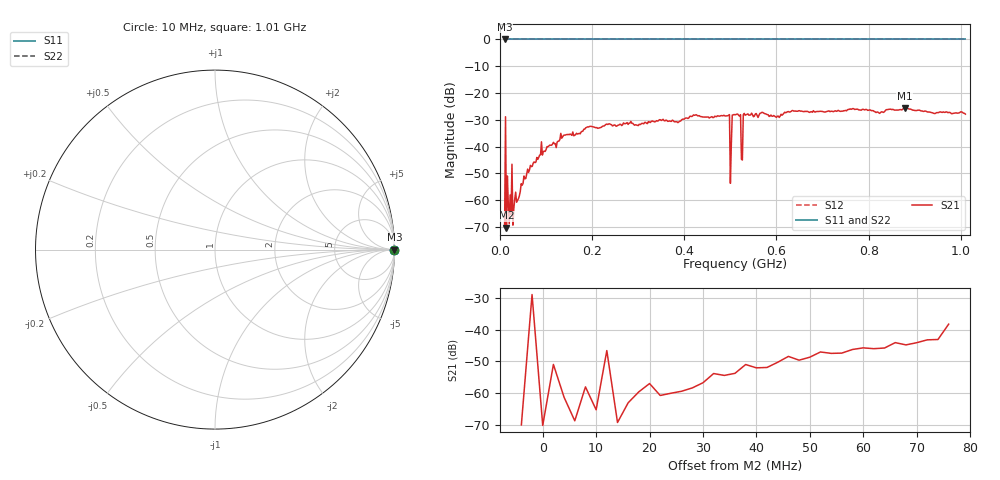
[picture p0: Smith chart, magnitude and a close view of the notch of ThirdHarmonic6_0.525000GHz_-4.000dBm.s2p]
! 8/15/2025 4:13:41 PM
! C:\ANRITSUVNA\TEMP\TEMP.S2P
! CHANNEL.1
! TR.MEASUREMENT
! RAW.DATA
! RF.CORRECTION.OFF
! AVERAGING.OFF
! IF.BANDWIDTH: 5KHZ
! SWEEPTYPE:  FREQ.SWEEP(Linear)
! Reference Plane Port Info
! PORT:  PORT1  PORT2
! DISTANCE:  0  m  0  m
! TIME:  0  s  0  s
! PHASE.OFFSET:  0  deg.  0  deg.
! LOSS:  0  dB  0  dB
! REF.LOSS:  0  dB  0  dB
! REF.FREQ:  0  Hz  0  Hz
! Power Info
! POWER:  -20  dBm  -20  dBm
! EFF.POWER:  -20  dBm  -20  dBm
! SOURCE.ATTEN:  0  dB  0  dB
! TEST.ATTEN:  0  dB  0  dB
# GHZ S RI R 50.0
! FREQ.GHZ  S11RE  S11IM  S21RE  S21IM  S12RE  S12IM  S22RE  S22IM
!; PortSelection: Port_12
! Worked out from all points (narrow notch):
!   501 points, 10 MHz to 1.01 GHz, reference 50 ohm
!   highest |S21| = -25.69 dB at 878 MHz (marker M1); lowest = -70.2 dB at 14 MHz (marker M2)
!   notch at M2: 41.6 dB deep, 12.7 MHz wide at half that depth
!   lowest |S11| = 0.0 dB at 10 MHz (marker M3)
!   |S11| at or under -10 dB: nowhere
!   |S22| runs from 0.0 to 0.0 dB; largest |S21 - S12| = 1.1
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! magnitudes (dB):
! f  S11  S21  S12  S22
! 10 MHz  0.0  -70.0  0.0  0.0
! 14 MHz  0.0  -70.2  0.0  0.0
! 16 MHz  0.0  -51.0  0.0  0.0
! 18 MHz  0.0  -61.3  0.0  0.0
! 30 MHz  0.0  -63.0  0.0  0.0
! 32 MHz  0.0  -59.6  0.0  0.0
! 56 MHz  0.0  -51.9  0.0  0.0
! 90 MHz  0.0  -38.2  0.0  0.0
! 178 MHz  0.0  -34.4  0.0  0.0
! 344 MHz  0.0  -30.3  0.0  0.0
! 494 MHz  0.0  -28.5  0.0  0.0
! 498 MHz  0.0  -28.1  0.0  0.0
! 504 MHz  0.0  -28.3  0.0  0.0
! 510 MHz  0.0  -28.2  0.0  0.0
! 518 MHz  0.0  -28.4  0.0  0.0
! 522 MHz  0.0  -28.1  0.0  0.0
! 528 MHz  0.0  -28.1  0.0  0.0
! 532 MHz  0.0  -28.3  0.0  0.0
! 678 MHz  0.0  -27.2  0.0  0.0
! 844 MHz  0.0  -26.1  0.0  0.0
! 878 MHz  0.0  -25.7  0.0  0.0
! 1.01 GHz  0.0  -27.9  0.0  0.0
